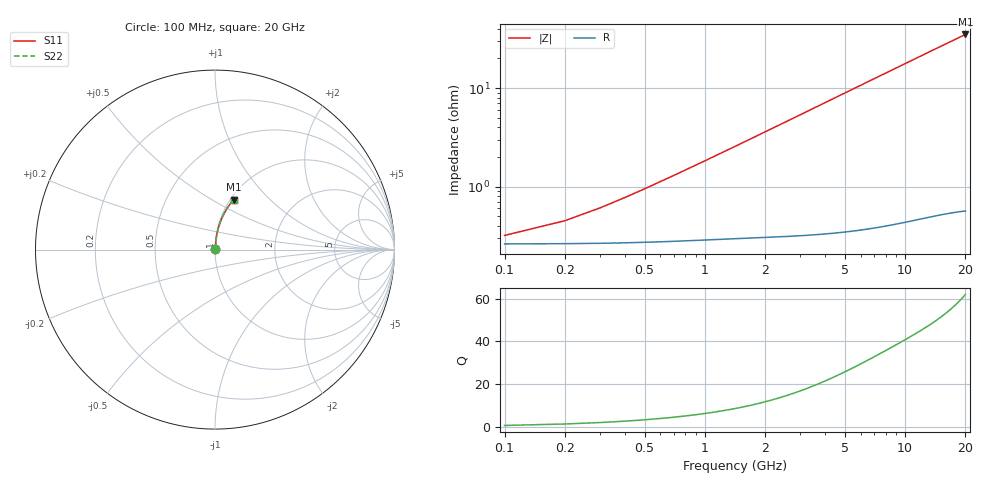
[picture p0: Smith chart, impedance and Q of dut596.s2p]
! Touchstone file exported from HFSS 2024.1.0
!  File:  C:/UserFiles/LocalFiles/RDL_TSV_Batchsim/temp_RDL_bottom_596_1779691284.aedt
!  Generated:  02:44:06 PM May 25, 2026
!  Design:  RDL_bottom
!  Project:  temp_RDL_bottom_596_1779691284
!  Setup:  Setup1
!  Solution:  Sweep
! Variables:
!  dtsv = 10.80580581um
!  hbump = 3um
!  htsv = 89.95um
!  ldown = 196.27um
!  lrdl = 100um
!  p = 40
!  p1 = 58.52um
!  rhole = 1um
!  t = 450um
!  tdown = 2.6um
!  trdl = 3.915915916um
!  wdown = 11.07um
!  wrdl = 20um
# GHz S MA R 50.000000
! Terminal data exported
! Port[1] = RDL1_T1
! Port[2] = RDL1_T2
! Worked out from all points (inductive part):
!   200 points, 100 MHz to 20 GHz, reference 50 ohm
!   read as one part in series: L = 288 pH near 500 MHz
!   highest Q = 61.9 at 20 GHz (marker M1), where L = 278 pH
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0.1  0.003048 30.9  0.9974 -0.1  0.9974 -0.1  0.003048 30.9
! Gamma 0 0 0 0
! Port Impedance 50 0 50 0
0.3  0.005391 60.3  0.9973 -0.4  0.9973 -0.4  0.005391 60.3
0.4  0.006797 66.4  0.9973 -0.5  0.9973 -0.5  0.006797 66.4
0.5  0.008249 70.4  0.9972 -0.6  0.9972 -0.6  0.008249 70.4
0.6  0.009723 73.1  0.9972 -0.7  0.9972 -0.7  0.009723 73.1
0.8  0.0127 76.6  0.997 -0.9  0.997 -0.9  0.0127 76.6
1.1  0.01719 79.5  0.9968 -1.3  0.9968 -1.3  0.01719 79.5
1.3  0.0202 80.6  0.9967 -1.5  0.9967 -1.5  0.0202 80.6
1.5  0.02321 81.5  0.9965 -1.8  0.9965 -1.8  0.02321 81.5
1.8  0.02774 82.4  0.9963 -2.1  0.9963 -2.1  0.02774 82.4
2.1  0.03228 82.9  0.996 -2.5  0.996 -2.5  0.03228 82.9
2.7  0.04139 83.5  0.9953 -3.1  0.9953 -3.1  0.04139 83.5
3.5  0.05358 83.7  0.9942 -4.1  0.9942 -4.1  0.05358 83.7
4.2  0.06427 83.6  0.993 -4.9  0.993 -4.9  0.06427 83.6
5  0.07653 83.3  0.9914 -5.8  0.9914 -5.8  0.07653 83.3
5.9  0.09033 82.8  0.9894 -6.8  0.9894 -6.8  0.09033 82.8
6.8  0.1041 82.1  0.9872 -7.8  0.9872 -7.8  0.1041 82.1
8.3  0.1271 80.9  0.9829 -9.4  0.9829 -9.4  0.1271 80.9
10.1  0.1546 79.3  0.9772 -11.4  0.9772 -11.4  0.1546 79.3
13.4  0.204 76.1  0.9651 -14.9  0.9651 -14.9  0.204 76.1
16.7  0.2516 72.8  0.9513 -18.2  0.9513 -18.2  0.2516 72.8
20  0.2971 69.6  0.9361 -21.5  0.9361 -21.5  0.2971 69.6
